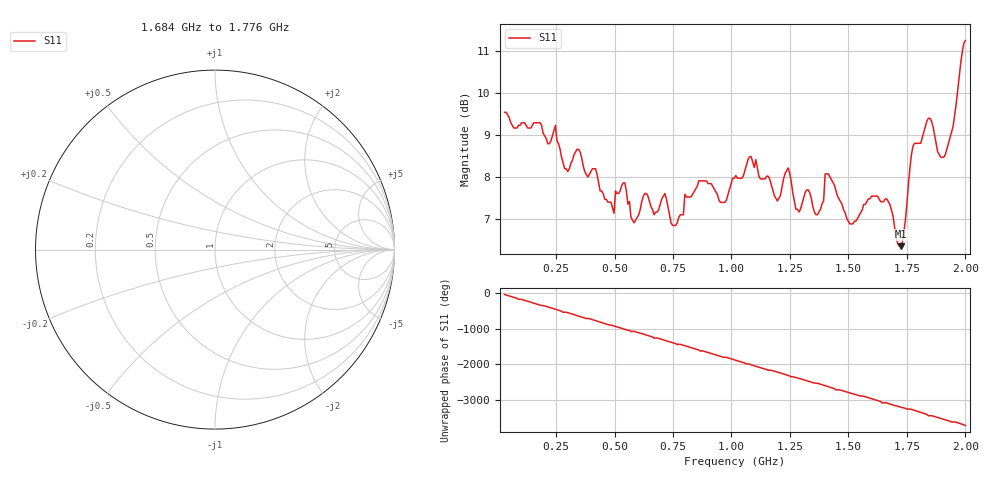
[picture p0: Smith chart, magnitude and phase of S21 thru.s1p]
# Hz S DB R 50.000000
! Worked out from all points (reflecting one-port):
!   300 points, 30 MHz to 2 GHz, reference 50 ohm
!   lowest |S11| = 6.3 dB at 1.723 GHz (marker M1)
!   phase of S11 starts at -53 deg and turns -3650 deg over the sweep
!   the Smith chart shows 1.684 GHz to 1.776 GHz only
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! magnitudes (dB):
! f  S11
! 30 MHz  9.5
! 214.5 MHz  8.8
! 247.4 MHz  9.2
! 280.4 MHz  8.3
! 346.3 MHz  8.7
! 497.8 MHz  7.1
! 524.1 MHz  7.7
! 543.9 MHz  7.9
! 583.4 MHz  6.9
! 629.6 MHz  7.6
! 774.5 MHz  7.0
! 860.2 MHz  7.9
! 972.2 MHz  7.4
! 1.018 GHz  8.0
! 1.084 GHz  8.5
! 1.196 GHz  7.4
! 1.242 GHz  8.2
! 1.262 GHz  7.6
! 1.367 GHz  7.1
! 1.414 GHz  8.1
! 1.512 GHz  6.9
! 1.664 GHz  7.5
! 1.723 GHz  6.3
! 1.756 GHz  7.8
! 1.776 GHz  8.7
! 1.842 GHz  9.4
! 1.914 GHz  8.5
! 2 GHz  11.3
